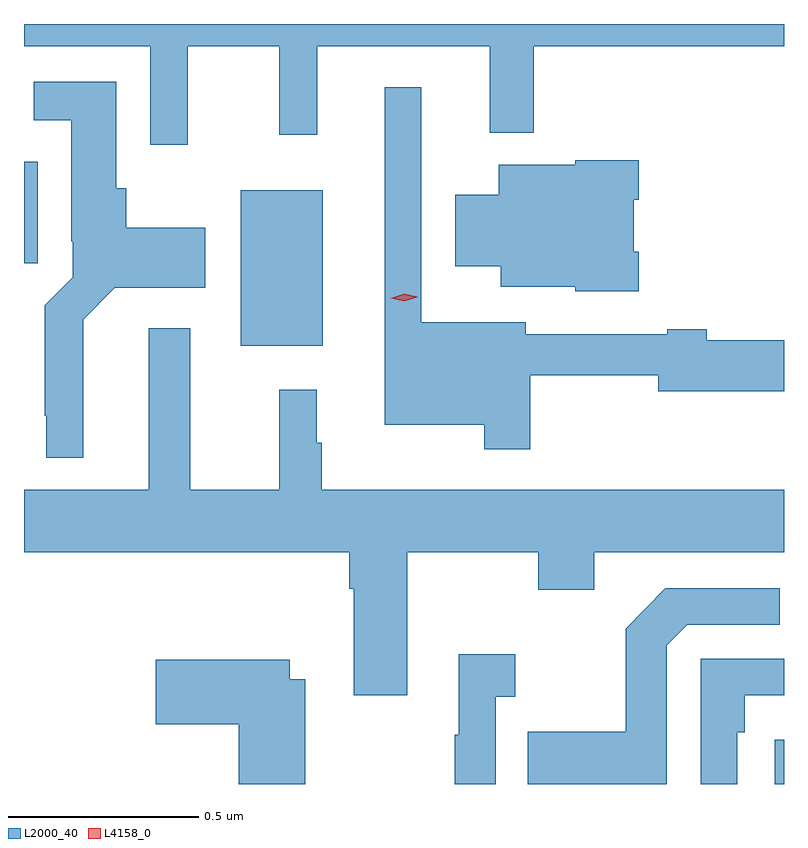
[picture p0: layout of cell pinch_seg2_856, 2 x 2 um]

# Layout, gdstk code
import gdstk
lib = gdstk.Library(unit=1e-6, precision=1e-09)
def R(c, l, rs):  # rectangles x0, y0, x1, y1
    for r in rs: c.add(gdstk.rectangle(r[:2], r[2:], *l))
def P(c, l, *ps):  # polygons
    for p in ps: c.add(gdstk.Polygon(p, *l))
L2000_40 = (2000, 40)
L4158_0 = (4158, 0)

pinch_seg2_856 = lib.new_cell('pinch_seg2_856')
R(pinch_seg2_856, L2000_40, [(863.175,607.066,863.199,607.182), (861.77,608.219,861.985,608.629), (861.199,608.436,861.235,608.703)])
P(pinch_seg2_856, L2000_40, [(861.63,609.008),(861.871,609.008),(861.871,608.775),(861.971,608.775),(861.971,609.008),(862.424,609.008),(862.424,608.78),(862.541,608.78),(862.541,609.008),(863.199,609.008),(863.199,609.066),(861.199,609.066),(861.199,609.008),(861.531,609.008),(861.531,608.748),(861.63,608.748)],
  [(861.355,608.288),(861.438,608.372),(861.676,608.372),(861.676,608.53),(861.468,608.53),(861.468,608.634),(861.442,608.634),(861.442,608.914),(861.225,608.914),(861.225,608.813),(861.323,608.813),(861.323,608.494),(861.327,608.494),(861.327,608.4),(861.253,608.326),(861.253,608.035),(861.257,608.035),(861.257,607.925),(861.355,607.925)],
  [(862.531,608.142),(862.868,608.142),(862.868,608.099),(863.199,608.099),(863.199,608.234),(862.996,608.234),(862.996,608.263),(862.892,608.263),(862.892,608.25),(862.519,608.25),(862.519,608.281),(862.245,608.281),(862.245,608.899),(862.148,608.899),(862.148,608.012),(862.41,608.012),(862.41,607.947),(862.531,607.947)],
  [(862.817,608.467),(862.804,608.467),(862.804,608.603),(862.817,608.603),(862.817,608.707),(862.65,608.707),(862.65,608.695),(862.448,608.695),(862.448,608.617),(862.334,608.617),(862.334,608.429),(862.454,608.429),(862.454,608.375),(862.65,608.375),(862.65,608.363),(862.817,608.363)],
  [(862.207,607.676),(862.552,607.676),(862.552,607.577),(862.699,607.577),(862.699,607.676),(863.199,607.676),(863.199,607.84),(861.982,607.84),(861.982,607.964),(861.97,607.964),(861.97,608.104),(861.871,608.104),(861.871,607.84),(861.637,607.84),(861.637,608.266),(861.527,608.266),(861.527,607.84),(861.199,607.84),(861.199,607.676),(862.055,607.676),(862.055,607.58),(862.067,607.58),(862.067,607.299),(862.207,607.299)],
  [(862.89,607.431),(862.944,607.485),(863.188,607.485),(863.188,607.581),(862.887,607.581),(862.782,607.475),(862.782,607.203),(862.525,607.203),(862.525,607.066),(862.89,607.066)],
  [(862.44,607.295),(862.492,607.295),(862.492,607.408),(862.343,607.408),(862.343,607.195),(862.332,607.195),(862.332,607.066),(862.44,607.066)],
  [(863.076,607.202),(863.096,607.202),(863.096,607.299),(863.199,607.299),(863.199,607.395),(862.98,607.395),(862.98,607.066),(863.076,607.066)],
  [(861.939,607.342),(861.898,607.342),(861.898,607.393),(861.546,607.393),(861.546,607.223),(861.764,607.223),(861.764,607.066),(861.939,607.066)])
P(pinch_seg2_856, L4158_0, [(862.2,608.336),(862.164,608.344),(862.164,608.344),(862.164,608.344),(862.199,608.356),(862.234,608.348),(862.235,608.347),(862.234,608.347)])

lib.write_gds('pinch_seg2_856.gds')
